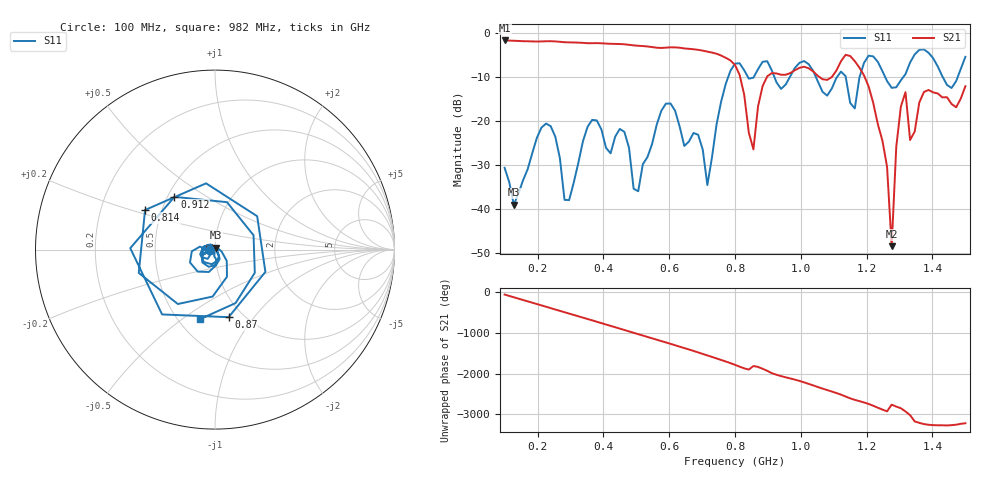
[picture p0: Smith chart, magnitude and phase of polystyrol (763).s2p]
! NanoVNA-App
! Date: 2025-09-25 15:35:49
! Start: 100MHz Stop: 1,5GHz Points: 101
! S-Parameter data: F S11 S21 S12 S22
# Hz S RI R 50
!  Frequency  S11_Real  S11_Imag  S21_Real  S21_Imag  S12_Real  S12_Imag  S22_Real  S22_Imag
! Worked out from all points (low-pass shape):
!   101 points, 100 MHz to 1.5 GHz, reference 50 ohm
!   highest |S21| = -1.80 dB at 100 MHz (marker M1); lowest = -48.5 dB at 1.276 GHz (marker M2)
!   |S21| within 3 dB of the highest: start of sweep to 743.3 MHz
!   lowest |S11| = -39.1 dB at 128 MHz (marker M3), VSWR 1.02, Z = 50.3 + j1.06 ohm
!   |S11| at or under -10 dB: start of sweep to 779.8 MHz; 1.045 GHz to 1.111 GHz (65.83 MHz wide, 6.11 % of centre); 1.256 GHz to 1.312 GHz (56.83 MHz wide, 4.43 % of centre) (the widest 3 of 7)
!   S12 and S22 are empty: the file has one direction only
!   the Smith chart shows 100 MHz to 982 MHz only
!   S11 on the Smith chart (normalised r, x): 100 MHz: 0.94, -0.01; 814 MHz: 0.40, +0.22; 870 MHz: 0.86, -0.76; 912 MHz: 0.54, +0.37; 982 MHz: 0.63, -0.58
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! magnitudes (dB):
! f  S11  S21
! 100 MHz  -30.7  -1.8
! 128 MHz  -39.1  -1.9
! 212 MHz  -21.6  -2.0
! 282 MHz  -38.0  -2.2
! 338 MHz  -24.7  -2.3
! 506 MHz  -36.0  -3.0
! 576 MHz  -17.8  -3.5
! 716 MHz  -34.6  -4.3
! 800 MHz  -7.0  -7.4
! 814 MHz  -7.0  -9.6
! 856 MHz  -10.3  -26.5
! 870 MHz  -8.3  -16.8
! 912 MHz  -8.6  -9.2
! 982 MHz  -8.0  -8.6
! 1.038 GHz  -8.8  -8.9
! 1.192 GHz  -6.9  -9.7
! 1.262 GHz  -11.0  -30.5
! 1.276 GHz  -12.6  -48.5
! 1.29 GHz  -12.4  -25.9
! 1.318 GHz  -9.4  -13.5
! 1.332 GHz  -6.8  -24.4
! 1.5 GHz  -5.5  -12.2
